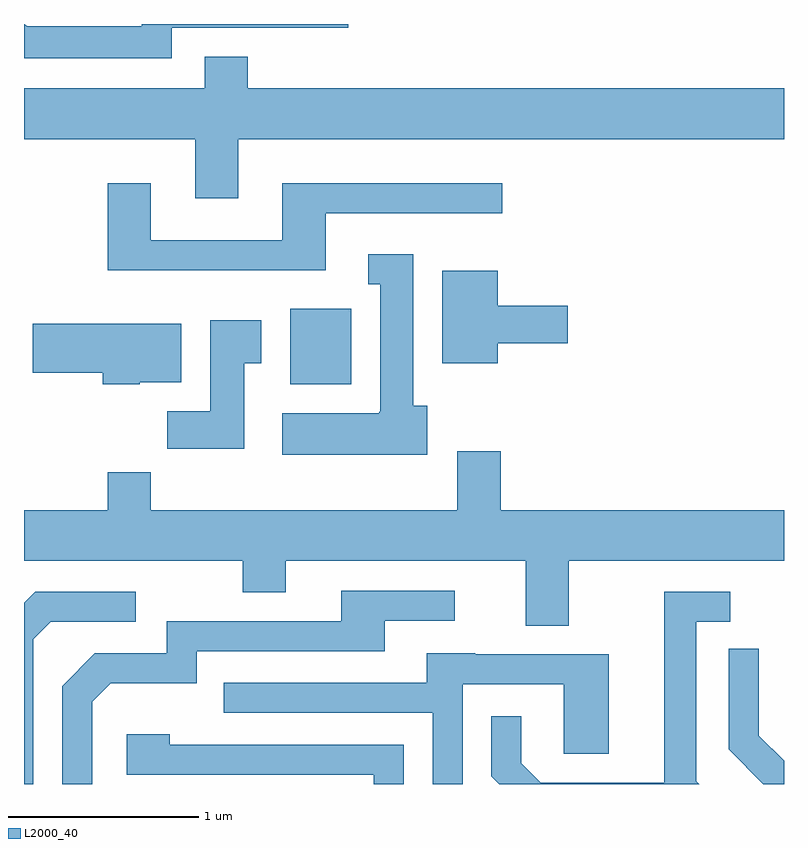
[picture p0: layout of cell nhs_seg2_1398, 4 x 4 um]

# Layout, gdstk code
import gdstk
lib = gdstk.Library(unit=1e-6, precision=1e-09)
def R(c, l, rs):  # rectangles x0, y0, x1, y1
    for r in rs: c.add(gdstk.rectangle(r[:2], r[2:], *l))
def P(c, l, *ps):  # polygons
    for p in ps: c.add(gdstk.Polygon(p, *l))
L2000_40 = (2000, 40)

nhs_seg2_1398 = lib.new_cell('nhs_seg2_1398')
R(nhs_seg2_1398, L2000_40, [(227.011,1055.906,227.334,1056.304)])
P(nhs_seg2_1398, L2000_40, [(226.389,1057.781),(227.318,1057.781),(227.318,1057.802),(226.231,1057.802),(226.231,1057.789),(225.627,1057.789),(225.614,1057.802),(225.611,1057.802),(225.611,1057.621),(226.389,1057.621)],
  [(226.739,1057.196),(229.611,1057.196),(229.611,1057.464),(226.789,1057.464),(226.789,1057.629),(226.561,1057.629),(226.561,1057.464),(225.611,1057.464),(225.611,1057.196),(226.511,1057.196),(226.511,1056.886),(226.739,1056.886)],
  [(227.199,1056.806),(228.128,1056.806),(228.128,1056.964),(226.971,1056.964),(226.971,1056.664),(226.279,1056.664),(226.279,1056.964),(226.051,1056.964),(226.051,1056.506),(227.199,1056.506)],
  [(227.734,1055.794),(227.659,1055.794),(227.659,1056.589),(227.423,1056.589),(227.423,1056.431),(227.486,1056.431),(227.486,1055.76),(227.48,1055.76),(227.48,1055.754),(226.971,1055.754),(226.971,1055.536),(227.734,1055.536)],
  [(228.104,1056.121),(228.474,1056.121),(228.474,1056.319),(228.104,1056.319),(228.104,1056.504),(227.811,1056.504),(227.811,1056.016),(228.104,1056.016)],
  [(226.769,1056.016),(226.859,1056.016),(226.859,1056.244),(226.591,1056.244),(226.591,1055.764),(226.366,1055.764),(226.366,1055.566),(226.769,1055.566)],
  [(226.22,1055.916),(226.439,1055.916),(226.439,1056.224),(225.656,1056.224),(225.656,1055.966),(226.026,1055.966),(226.026,1055.906),(226.22,1055.906)],
  [(228.479,1054.976),(229.611,1054.976),(229.611,1055.244),(228.119,1055.244),(228.119,1055.554),(227.891,1055.554),(227.891,1055.244),(226.279,1055.244),(226.279,1055.444),(226.051,1055.444),(226.051,1055.244),(225.611,1055.244),(225.611,1054.976),(226.761,1054.976),(226.761,1054.811),(226.989,1054.811),(226.989,1054.976),(228.251,1054.976),(228.251,1054.636),(228.479,1054.636)],
  [(225.969,1054.234),(226.067,1054.331),(226.519,1054.331),(226.519,1054.501),(227.509,1054.501),(227.509,1054.661),(227.878,1054.661),(227.878,1054.819),(227.281,1054.819),(227.281,1054.659),(226.361,1054.659),(226.361,1054.489),(225.984,1054.489),(225.811,1054.317),(225.811,1053.802),(225.969,1053.802)],
  [(225.659,1054.564),(225.752,1054.656),(226.198,1054.656),(226.198,1054.814),(225.669,1054.814),(225.611,1054.756),(225.611,1053.802),(225.659,1053.802)],
  [(229.149,1053.817),(229.149,1054.656),(229.328,1054.656),(229.328,1054.814),(228.981,1054.814),(228.981,1053.809),(228.332,1053.809),(228.229,1053.912),(228.229,1054.158),(228.071,1054.158),(228.071,1053.844),(228.113,1053.802),(229.164,1053.802)],
  [(229.611,1053.925),(229.479,1054.057),(229.479,1054.513),(229.321,1054.513),(229.321,1053.984),(229.503,1053.802),(229.611,1053.802)],
  [(227.919,1054.326),(228.451,1054.326),(228.451,1053.961),(228.689,1053.961),(228.689,1054.484),(227.985,1054.484),(227.985,1054.489),(227.731,1054.489),(227.731,1054.334),(226.663,1054.334),(226.663,1054.176),(227.761,1054.176),(227.761,1053.802),(227.919,1053.802)],
  [(227.609,1054.009),(226.379,1054.009),(226.379,1054.064),(226.151,1054.064),(226.151,1053.851),(227.451,1053.851),(227.451,1053.802),(227.609,1053.802)])

lib.write_gds('nhs_seg2_1398.gds')
